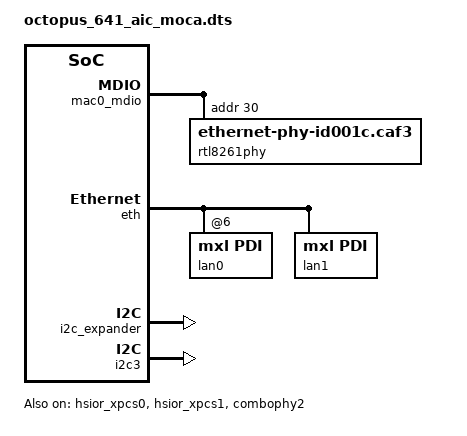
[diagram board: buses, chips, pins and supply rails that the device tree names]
// SPDX-License-Identifier: GPL-2.0
/*
 * Copyright (C) 2020-2022 MaxLinear, Inc.
 * Copyright (C) 2019-2020 Intel Corporation.
 */

/dts-v1/;
#include "octopus_641_base.dtsi"
#include "octopus_641_sfp_eth_wan.dtsi"
#include "octopus_emmc.dtsi"
#include "octopus_641_led.dtsi"
#include "voice.dtsi"

&mac0_mdio {
	rtl8261phy: ethernet-phy@6 {
		reg = <0x1e>;
		compatible = "ethernet-phy-id001c.caf3", "ethernet-phy-ieee802.3-c45";
		interrupt-parent = <&ioapic1>;
	};
};

&gsw_mac8 {
	speed = <3000>;
	xpcs = <&hsior_xpcs1>;
};

&lpid_config {
	mxl,port-mode = <LPID_PORT_MODE0>;
};

/ {
	aliases {
		eth0_0 = &lan0;
	};
};

&eth {
	lan0: interface@6 {
		#address-cells = <1>;
		#size-cells = <0>;
		compatible = "mxl,pdi";
		mxl,dp-dev-port = <4>;
		mxl,dp-port-id = <4>;
		mxl,dp-port-10g;
		mxl,xgmac-id = <4>;
		mac = <&gsw_mac2>;
		phy = <&rtl8261phy>;
		phy-mode = "usxgmii";
		lan0_eth: ethernet@6 {
			compatible = "mxl,pdi-port";
			reg = <6>;
			phy-mode = "usxgmii";
			phy-handle = <&rtl8261phy>;
		};
	};

	lan1 {
		status = "okay";

		#address-cells = <1>;
		#size-cells = <0>;

		compatible = "mxl,pdi";
		mxl,dp-dev-port = <10>;
		mxl,dp-port-id = <10>;
		mxl,xgmac-id = <10>;
		mac = <&gsw_mac8>;
		phy-mode = "usxgmii";

		fixed-link {
			speed = <3000>;
			full-duplex;
			pause;
			asym-pause;
		};

		lan1_eth: ethernet@1 {
			compatible = "mxl,pdi-port";
			reg = <1>;
		};
	};
};

&aqsphylan {
	status = "disabled";
};

&i2c_expander {
	status = "okay";

	/* [sel1, sel2]: 10GPHY:B2/3: x, 0,  MoCA:C0/1: 1,x,  GSW140: B0/1  0,x */
	/* select 10GPHY and MoCA */
	analog_sw_sel1 {
		gpio-hog;
		gpios = <3 GPIO_ACTIVE_HIGH>;
		output-high;
		line-name = "analog_sw_sel1";
	};

	analog_sw_sel2 {
		gpio-hog;
		gpios = <4 GPIO_ACTIVE_HIGH>;
		output-low;
		line-name = "analog_sw_sel2";
	};

	/* 0 - 10GPHY,  1 - MOCA,  2 - GSW140 */
	reset_moca {
		gpio-hog;
		gpios = <1 GPIO_ACTIVE_HIGH>;
		output-high;
		line-name = "moca-reset";
	};

	/* 0 - 10GPHY,  1 - MOCA,  2 - GSW140 */
	reset_10gphy {
		gpio-hog;
		gpios = <0 GPIO_ACTIVE_HIGH>;
		output-high;
		line-name = "10gphy-reset";
	};
};

&hsior_xpcs0 {
	rx_attn_lvl = <0 0 0 0 0 0 0 0 0>;
	rx_ctle_boost = <18 18 18 16 16 16 16 16 18>;
	rx_ctle_pole = <0 0 0 2 2 2 2 2 0>;
	rx_vga1_gain = <4 4 4 5 5 5 5 5 4>;
	rx_vga2_gain = <4 4 4 5 5 5 5 5 4>;
	rx_dfe_bypass = <1 1 1 0 0 0 0 0 1>;
	cont_adapt_en = <0 0 0 1 1 1 1 1 0>;
	rx_cali = <1 1 1 1 1 1 1 1 1>;
	tx_vboost_en = <1 1 1 1 1 1 1 1 1>;
	tx_vboost_lvl = <5 5 5 5 5 5 5 5 5>;
	tx_iboost_lvl = <15 15 15 15 15 15 15 15 15>;
	tx_eq_main = <16 16 19 28 28 28 28 28 40>;
	tx_eq_pre = <4 4 4 16 16 16 16 16 0>;
	tx_eq_post = <4 4 4 32 32 32 32 32 0>;
	tx_eq_ovrride = <1 1 1 1 1 1 1 1 1>;
};

&hsior_xpcs1 {
	rx_attn_lvl = <0 0 0 0 0 0 0 0 0>;
	rx_ctle_boost = <18 18 18 16 16 16 16 16 18>;
	rx_ctle_pole = <0 0 0 2 2 2 2 2 0>;
	rx_vga1_gain = <4 4 4 5 5 5 5 5 4>;
	rx_vga2_gain = <4 4 4 5 5 5 5 5 4>;
	rx_dfe_bypass = <1 1 1 0 0 0 0 0 1>;
	cont_adapt_en = <0 0 0 1 1 1 1 1 0>;
	rx_cali = <1 1 1 1 1 1 1 1 1>;
	tx_vboost_en = <1 1 1 1 1 1 1 1 1>;
	tx_vboost_lvl = <5 5 5 5 5 5 5 5 5>;
	tx_iboost_lvl = <15 15 15 15 15 15 15 15 15>;
	tx_eq_main = <16 16 19 28 28 28 28 28 40>;
	tx_eq_pre = <4 4 4 16 16 16 16 16 0>;
	tx_eq_post = <4 4 4 32 32 32 32 32 0>;
	tx_eq_ovrride = <1 1 1 1 1 1 1 1 1>;
};

&hsior_xpcs0 {
	xpcs-mode = <6>; /* <0> - SGMII, <1> - 1000BaseX, <2> - 2500BaseX, <3> - 5GBaseR, <4> - 10GBaseR, <5> - USXGMII, <6> - 10GKR, <7> - QUSXGMII, <8> - 3000BaseX*/
	status = "okay";
};

&hsior_xpcs1 {
	xpcs-mode = <8>; /* <0> - SGMII, <1> - 1000BaseX, <2> - 2500BaseX, <3> - 5GBaseR, <4> - 10GBaseR, <5> - USXGMII, <6> - 10GKR, <7> - QUSXGMII, <8> - 3000BaseX*/
	xpcs-cl37 = <0 0 0 0 0 0 0 0 0>; /* <0> - disable, <1> - SGMII MAC side, <2> - SGMII PHY side, <3> - BaseX */
	status = "okay";
};

&pcie21 {
	status = "disabled";
};

&pcie20 {
	status = "disabled";
};

&combophy2 { /* PCIe20/21, HSIOR_XPCS0/1, SATA20/21 */
	status = "okay";
};

&i2c3 {
	status = "okay";
};
